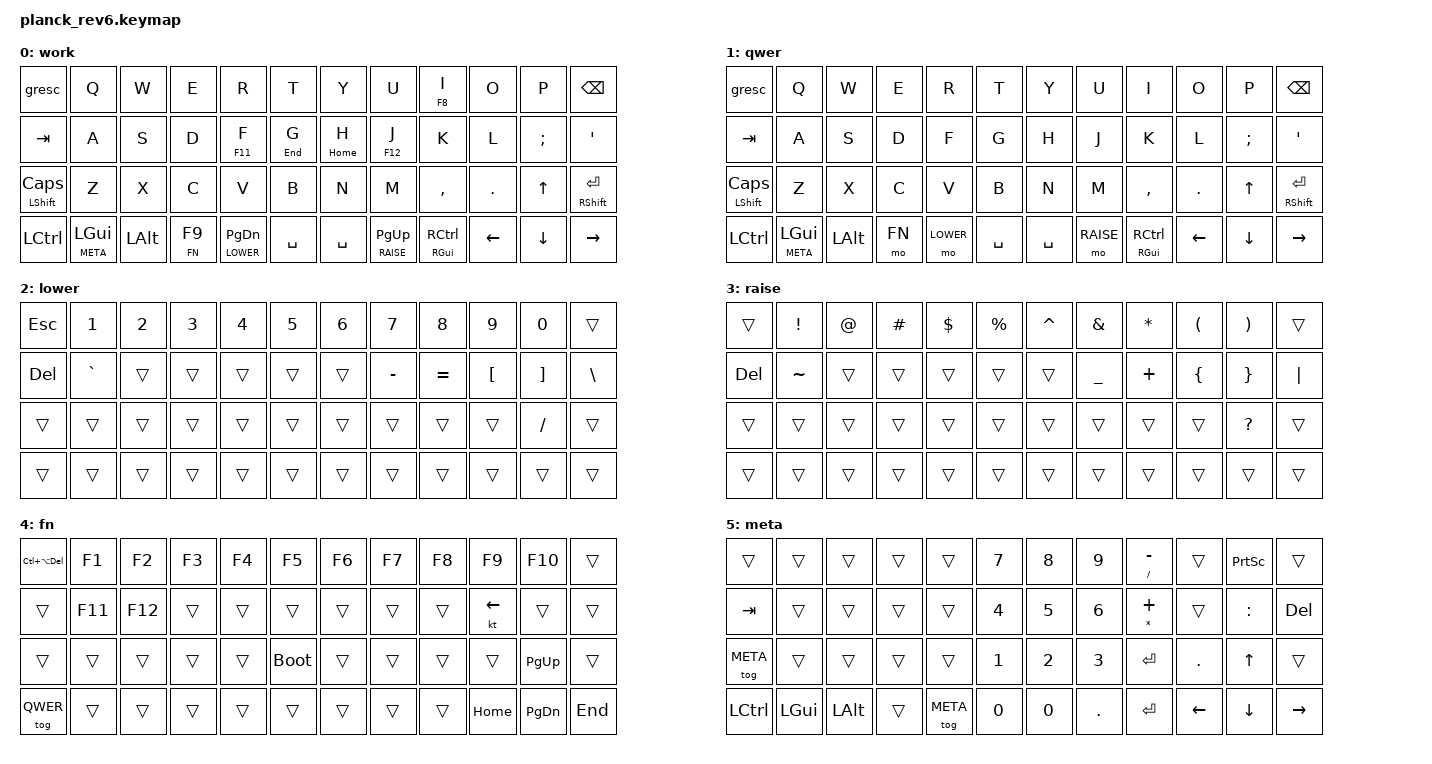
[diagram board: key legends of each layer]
// Copyright (c) 2024 Will Hedges (https://github.com/will-hedges)
// SPDX-License-Identifier: MIT

#include <behaviors.dtsi>
#include <dt-bindings/zmk/keys.h>


#define WORK  0
#define QWER  1
#define LOWER 2
#define RAISE 3
#define FN    4
#define META  5


&lt {
    flavor = "hold-preferred";
};


/ {
    behaviors {
        gresc: grave_escape {
            compatible = "zmk,behavior-mod-morph";
            #binding-cells = <0>;
            bindings = <&kp ESC>, <&kp GRAVE>;
            mods = <(MOD_LGUI|MOD_LSFT|MOD_RGUI|MOD_RSFT)>;
        };

        tpht: tap_preferred_hold-tap {
            compatible = "zmk,behavior-hold-tap";
            #binding-cells = <2>;
            tapping-term-ms = <200>;
            quick-tap-ms = <0>;
            flavor = "tap-preferred";
            bindings = <&kp>, <&kp>;
        };
    };


    keymap {
        compatible = "zmk,keymap";

        work {
            bindings = <
                &gresc          &kp Q          &kp W     &kp E      &kp R            &kp T        &kp Y         &kp U            &tpht F8 I      &kp O     &kp P     &kp BSPC
                &kp TAB         &kp A          &kp S     &kp D      &tpht F11 F      &tpht END G  &tpht HOME H  &tpht F12 J      &kp K           &kp L     &kp SEMI  &kp SQT
                &mt LSHFT CAPS  &kp Z          &kp X     &kp C      &kp V            &kp B        &kp N         &kp M            &kp COMMA       &kp DOT   &kp UP    &mt RSHFT ENTER
                &kp LCTRL       &lt META LGUI  &kp LALT  &lt FN F9  &lt LOWER PG_DN  &kp SPACE    &kp SPACE     &lt RAISE PG_UP  &mt RGUI RCTRL  &kp LEFT  &kp DOWN  &kp RIGHT
            >;
        };

        qwer {
            bindings = <
                &gresc          &kp Q          &kp W     &kp E   &kp R      &kp T      &kp Y       &kp U      &kp I           &kp O     &kp P     &kp BSPC
                &kp TAB         &kp A          &kp S     &kp D   &kp F      &kp G      &kp H       &kp J      &kp K           &kp L     &kp SEMI  &kp SQT
                &mt LSHFT CAPS  &kp Z          &kp X     &kp C   &kp V      &kp B      &kp N       &kp M      &kp COMMA       &kp DOT   &kp UP    &mt RSHFT ENTER
                &kp LCTRL       &lt META LGUI  &kp LALT  &mo FN  &mo LOWER  &kp SPACE  &kp SPACE   &mo RAISE  &mt RGUI RCTRL  &kp LEFT  &kp DOWN  &kp RIGHT  
            >;
        };

        lower {
            bindings = <
                &kp ESC  &kp N1     &kp N2  &kp N3  &kp N4  &kp N5  &kp N6  &kp N7     &kp N8     &kp N9    &kp N0     &trans  
                &kp DEL  &kp GRAVE  &trans  &trans  &trans  &trans  &trans  &kp MINUS  &kp EQUAL  &kp LBKT  &kp RBKT   &kp BSLH 
                &trans   &trans     &trans  &trans  &trans  &trans  &trans  &trans     &trans     &trans    &kp SLASH  &trans  
                &trans   &trans     &trans  &trans  &trans  &trans  &trans  &trans     &trans     &trans    &trans     &trans
            >;
        };

        raise {
            bindings = <
                &trans  &kp EXCL   &kp AT  &kp HASH  &kp DLLR  &kp PRCNT  &kp CARET  &kp AMPS   &kp ASTRK  &kp LPAR  &kp RPAR   &trans
                &kp DEL &kp TILDE  &trans  &trans    &trans    &trans     &trans     &kp UNDER  &kp PLUS   &kp LBRC  &kp RBRC   &kp PIPE
                &trans  &trans     &trans  &trans    &trans    &trans     &trans     &trans     &trans     &trans    &kp QMARK  &trans
                &trans  &trans     &trans  &trans    &trans    &trans     &trans     &trans     &trans     &trans    &trans     &trans
            >;
        };
        
        fn {
            bindings = <
                &kp LC(LA(DEL))  &kp F1   &kp F2   &kp F3  &kp F4  &kp F5       &kp F6  &kp F7  &kp F8  &kp F9    &kp F10    &trans
                &trans           &kp F11  &kp F12  &trans  &trans  &trans       &trans  &trans  &trans  &kt LEFT  &trans     &trans
                &trans           &trans   &trans   &trans  &trans  &bootloader  &trans  &trans  &trans  &trans    &kp PG_UP  &trans
                &tog QWER        &trans   &trans   &trans  &trans  &trans       &trans  &trans  &trans  &kp HOME  &kp PG_DN  &kp END
            >;
        };

        meta {
            bindings = <
            &trans     &trans    &trans    &trans  &trans     &kp N7  &kp N8  &kp N9   &tpht SLASH MINUS  &trans    &kp PSCRN  &trans
            &kp TAB    &trans    &trans    &trans  &trans     &kp N4  &kp N5  &kp N6   &tpht ASTRK PLUS   &trans    &kp COLON  &kp DEL
            &tog META  &trans    &trans    &trans  &trans     &kp N1  &kp N2  &kp N3   &kp ENTER          &kp DOT   &kp UP     &trans
            &kp LCTRL  &kp LGUI  &kp LALT  &trans  &tog META  &kp N0  &kp N0  &kp DOT  &kp ENTER          &kp LEFT  &kp DOWN   &kp RIGHT
            >;
        };
    };
};

